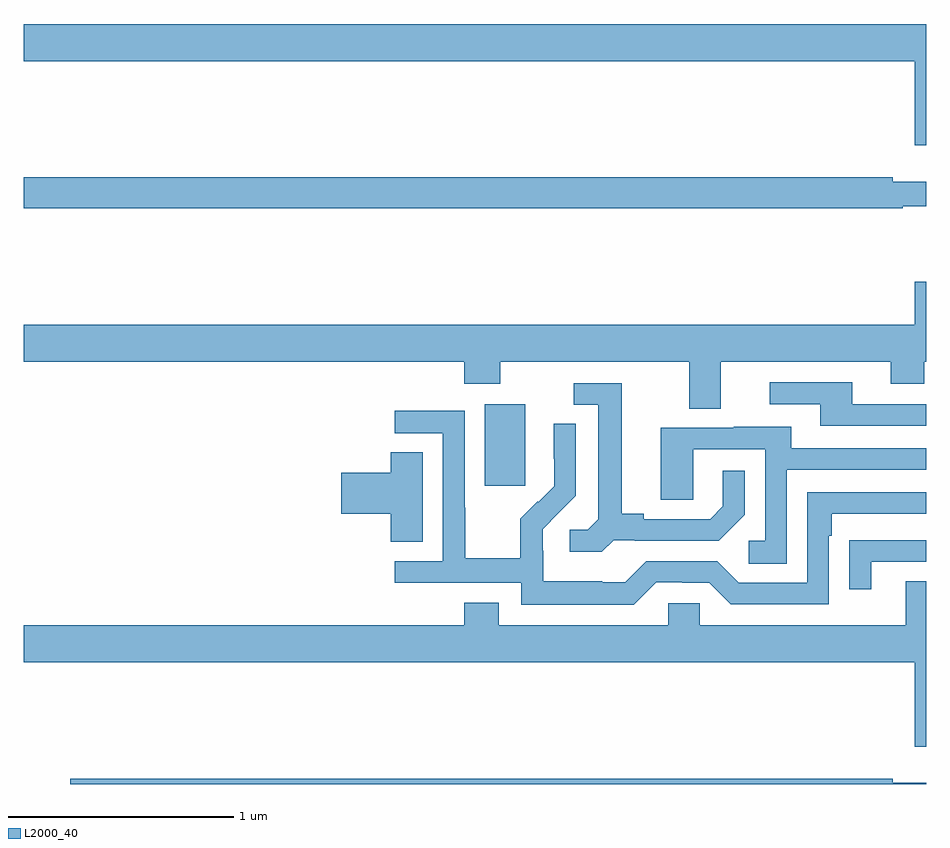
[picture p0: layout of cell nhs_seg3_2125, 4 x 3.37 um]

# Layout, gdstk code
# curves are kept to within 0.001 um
import gdstk
lib = gdstk.Library(unit=1e-6, precision=1e-09)
def R(c, l, rs):  # rectangles x0, y0, x1, y1
    for r in rs: c.add(gdstk.rectangle(r[:2], r[2:], *l))
def P(c, l, *ps):  # polygons
    for p in ps: c.add(gdstk.Polygon(p, *l))
L2000_40 = (2000, 40)

nhs_seg3_2125 = lib.new_cell('nhs_seg3_2125')
R(nhs_seg3_2125, L2000_40, [(223.043,677.721,223.222,678.082)])
P(nhs_seg3_2125, L2000_40, [(225,679.768),(221,679.768),(221,679.604),(224.948,679.604),(224.948,679.23),(225,679.23)],
  [(224.896,678.96),(225,678.96),(225,679.069),(224.852,679.069),(224.852,679.088),(221,679.088),(221,678.952),(224.896,678.952)],
  [(224.089,678.272),(224.843,678.272),(224.843,678.173),(224.991,678.173),(224.991,678.272),(225,678.272),(225,678.625),(224.948,678.625),(224.948,678.436),(221,678.436),(221,678.272),(222.953,678.272),(222.953,678.173),(223.113,678.173),(223.113,678.272),(223.949,678.272),(223.949,678.064),(224.089,678.064)],
  [(225,678.084),(224.671,678.084),(224.671,678.18),(224.307,678.18),(224.307,678.084),(224.531,678.084),(224.531,677.988),(225,677.988)],
  [(223.614,677.481),(223.708,677.481),(223.708,677.478),(224.08,677.478),(224.196,677.594),(224.196,677.788),(224.099,677.788),(224.099,677.631),(224.042,677.574),(223.747,677.574),(223.747,677.597),(223.651,677.597),(223.651,678.177),(223.437,678.177),(223.437,678.081),(223.547,678.081),(223.547,677.573),(223.5,677.526),(223.419,677.526),(223.419,677.429),(223.562,677.429)],
  [(223.803,677.295),(223.919,677.295),(223.919,677.292),(224.037,677.292),(224.133,677.196),(224.568,677.196),(224.568,677.501),(224.581,677.501),(224.581,677.598),(225,677.598),(225,677.694),(224.472,677.694),(224.472,677.292),(224.169,677.292),(224.073,677.388),(223.758,677.388),(223.665,677.295),(223.565,677.295),(223.565,677.299),(223.302,677.299),(223.302,677.433),(223.3,677.433),(223.3,677.53),(223.446,677.678),(223.446,677.996),(223.35,677.996),(223.35,677.842),(223.352,677.842),(223.352,677.72),(223.281,677.649),(223.278,677.652),(223.201,677.575),(223.201,677.401),(222.957,677.401),(222.957,677.624),(222.954,677.624),(222.954,678.054),(222.645,678.054),(222.645,677.955),(222.858,677.955),(222.858,677.388),(222.645,677.388),(222.645,677.292),(223.206,677.292),(223.206,677.195),(223.703,677.195)],
  [(224.382,677.793),(225,677.793),(225,677.889),(224.401,677.889),(224.401,677.983),(224.147,677.983),(224.147,677.979),(223.823,677.979),(223.823,677.659),(223.968,677.659),(223.968,677.883),(224.286,677.883),(224.286,677.478),(224.214,677.478),(224.214,677.377),(224.382,677.377)],
  [(222.769,677.87),(222.626,677.87),(222.626,677.78),(222.408,677.78),(222.408,677.597),(222.626,677.597),(222.626,677.473),(222.769,677.473)],
  [(224.755,677.385),(225,677.385),(225,677.481),(224.761,677.481),(224.761,677.48),(224.659,677.48),(224.659,677.262),(224.755,677.262)],
  [(225,677.299),(224.909,677.299),(224.909,677.104),(223.995,677.104),(223.995,677.202),(223.857,677.202),(223.857,677.104),(223.105,677.104),(223.105,677.203),(222.953,677.203),(222.953,677.104),(221,677.104),(221,676.94),(224.948,676.94),(224.948,676.566),(225,676.566)],
  [(225,676.405),(224.852,676.405),(224.852,676.424),(221.207,676.424),(221.207,676.4),(225,676.4)])

lib.write_gds('nhs_seg3_2125.gds')
